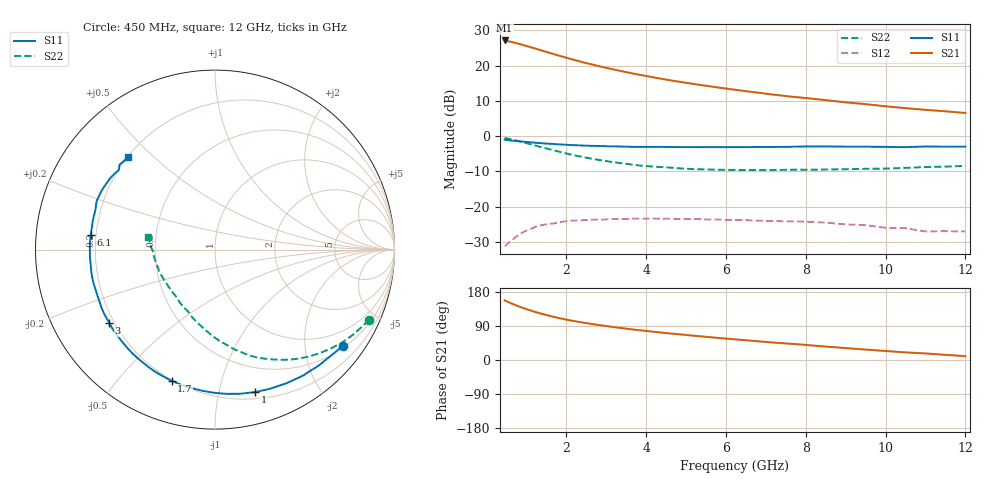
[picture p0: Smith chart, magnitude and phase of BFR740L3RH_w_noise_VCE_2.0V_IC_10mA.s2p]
! Infineon Technologies  Discrete & RF Semiconductors
! BFR740L3RH
! VCE =  2.0 V,  IC =  10 mA
! Common Emitter S-Parameters:  May 2012
# GHz  S  MA  R  50
!  f  S11  S21  S12  S22
! GHz  MAG  ANG  MAG  ANG  MAG  ANG  MAG  ANG
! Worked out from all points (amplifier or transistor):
!   85 points, 450 MHz to 12 GHz, reference 50 ohm
!   highest |S21| = 27.1 dB at 450 MHz (marker M1)
!   |S21| within 3 dB of that: start of sweep to 1.426 GHz
!   unconditionally stable (mu >= 1): 8.185 GHz to end of sweep
!   at 1.8 GHz: K = 0.18, MSG = 23.7 dB, |S12| = -24.5 dB
!   at 4.6 GHz: K = 0.50, MSG = 19.6 dB, |S12| = -23.4 dB
!   at 12 GHz: K = 2.22, MAG = 10.6 dB, |S12| = -27.0 dB
!   lowest NFmin = 0.59 dB at 450 MHz
!   S11 on the Smith chart (normalised r, x): 450 MHz: 0.56, -2.90; 1 GHz: 0.26, -1.28; 1.7 GHz: 0.20, -0.70; 3 GHz: 0.18, -0.30; 6.1 GHz: 0.18, +0.06; 12 GHz: 0.20, +0.42
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0.45  0.8908 -36.9  22.65 157.4  0.0275 67.2  0.9434 -24.5
0.6  0.8667 -48.2  21.73 150.2  0.0322 63.2  0.9033 -31.7
0.7  0.8557 -55.4  21.06 145.8  0.0359 58.9  0.876 -36.3
0.8  0.844 -62.1  20.34 141.6  0.0397 55.7  0.8474 -40.7
1  0.8245 -74.4  18.9 134.1  0.0457 49.5  0.7932 -48.7
1.2  0.8062 -85.5  17.52 127.4  0.051 44.3  0.7398 -56.0
1.4  0.7892 -95.4  16.19 121.3  0.0549 39.2  0.6896 -62.5
1.7  0.7699 -108.3  14.41 113.4  0.0578 33.2  0.6244 -71.4
2  0.7524 -119.3  12.87 106.5  0.0622 29.0  0.5669 -78.9
2.4  0.7346 -131.2  11.17 99.0  0.0642 23.1  0.5065 -87.6
2.7  0.7254 -138.5  10.15 94.0  0.0654 20.3  0.4704 -93.4
3  0.7172 -145.3  9.267 89.5  0.066 18.0  0.4416 -98.6
3.3  0.7122 -151.3  8.506 85.3  0.0665 15.3  0.4176 -103.8
3.7  0.7036 -158.2  7.628 80.1  0.0674 12.4  0.3906 -110.1
4.3  0.7017 -166.6  6.604 73.3  0.0674 9.4  0.3655 -118.1
5.3  0.6971 -179.1  5.356 63.0  0.0667 4.9  0.338 -131.2
6.1  0.6966 173.1  4.634 55.6  0.0647 1.3  0.3314 -140.7
6.3  0.6969 171.2  4.477 53.7  0.0647 1.3  0.3303 -142.9
7.2  0.7007 163.5  3.856 46.0  0.0623 -1.9  0.3306 -152.8
8.5  0.7123 152.8  3.23 35.4  0.0594 -5.5  0.3354 -166.0
10.5  0.6954 140.5  2.485 20.1  0.0495 -5.3  0.354 178.8
12  0.7085 133.3  2.124 10.2  0.0445 3.2  0.3778 169.5
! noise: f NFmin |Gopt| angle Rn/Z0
0.45  0.59  0.25  4  0.12
0.9  0.6  0.25  15  0.12
1.5  0.61  0.26  33  0.1
1.9  0.63  0.27  43  0.11
2.4  0.65  0.3  52  0.1
3.5  0.71  0.29  72  0.1
5.5  0.86  0.31  103  0.09
8  1.06  0.33  142  0.08
10  1.24  0.35  168  0.07
12  1.41  0.39  -158  0.07
